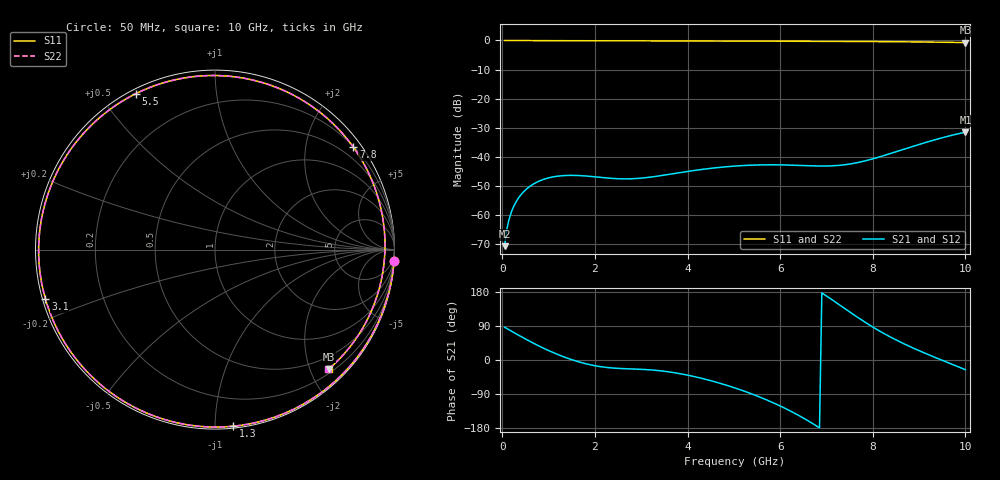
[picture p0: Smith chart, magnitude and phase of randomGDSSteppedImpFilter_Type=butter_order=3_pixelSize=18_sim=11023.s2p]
! freq	dB(S11)	phase(S11)	dB(S12)	phase(S12)
!  dB(S21)	phase(S21)	dB(S22)	phase(S22)
!S-par simulation data
#  GHz  S  DB  R 50
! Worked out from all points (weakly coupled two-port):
!   200 points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, 50 MHz to 10 GHz, reference 50 ohm
!   highest |S21| = -31.51 dB at 10 GHz (marker M1); lowest = -70.7 dB at 50 MHz (marker M2)
!   lowest |S11| = -0.7 dB at 10 GHz (marker M3), VSWR 23.72, Z = 13.5 - j116 ohm
!   |S11| at or under -10 dB: nowhere
!   |S22| runs from -0.7 to 0.0 dB; largest |S21 - S12| = 0
!   S11 on the Smith chart (normalised r, x): 50 MHz: 0, -32; 1.3 GHz: 0.01, -1.11; 3.1 GHz: 0.01, -0.14; 5.5 GHz: 0.02, +0.62; 7.8 GHz: 0.21, +3.02; 10 GHz: 0.27, -2.31
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0.05  -0.00 -3.6  -70.68 86.4  -70.68 86.4  -0.00 -3.6
0.1  -0.01 -7.1  -64.68 82.9  -64.68 82.9  -0.01 -7.1
0.15  -0.01 -10.6  -61.20 79.4  -61.20 79.4  -0.01 -10.6
0.25  -0.03 -17.6  -56.88 72.4  -56.88 72.4  -0.03 -17.6
0.4  -0.04 -28.0  -53.07 62.1  -53.07 62.1  -0.04 -28.0
0.6  -0.06 -41.4  -50.08 49.0  -50.08 49.0  -0.06 -41.4
0.85  -0.07 -57.6  -47.97 33.5  -47.97 33.5  -0.07 -57.6
1.3  -0.09 -84.2  -46.46 9.6  -46.46 9.6  -0.09 -84.3
1.75  -0.11 -107.7  -46.51 -8.2  -46.51 -8.2  -0.11 -107.8
2.4  -0.13 -136.9  -47.42 -21.3  -47.42 -21.3  -0.13 -136.9
3.1  -0.14 -163.8  -47.14 -25.3  -47.14 -25.3  -0.14 -163.8
3.4  -0.15 -174.4  -46.50 -28.3  -46.50 -28.3  -0.15 -174.4
4.2  -0.17 158.9  -44.55 -45.3  -44.55 -45.3  -0.17 158.8
5.05  -0.21 131.4  -43.13 -74.8  -43.13 -74.8  -0.21 131.4
5.5  -0.23 116.8  -42.78 -94.9  -42.78 -94.9  -0.23 116.7
6.1  -0.25 96.9  -42.78 -127.2  -42.78 -127.2  -0.26 96.8
6.7  -0.29 76.2  -43.09 -167.5  -43.09 -167.5  -0.29 76.1
7.25  -0.32 56.6  -42.95 148.2  -42.95 148.2  -0.32 56.5
7.8  -0.36 36.5  -41.51 102.4  -41.51 102.4  -0.36 36.3
8.35  -0.42 15.9  -39.00 62.7  -39.00 62.7  -0.42 15.7
9.15  -0.54 -14.4  -35.01 16.8  -35.01 16.8  -0.54 -14.6
10  -0.73 -46.3  -31.51 -25.5  -31.51 -25.5  -0.73 -46.5
